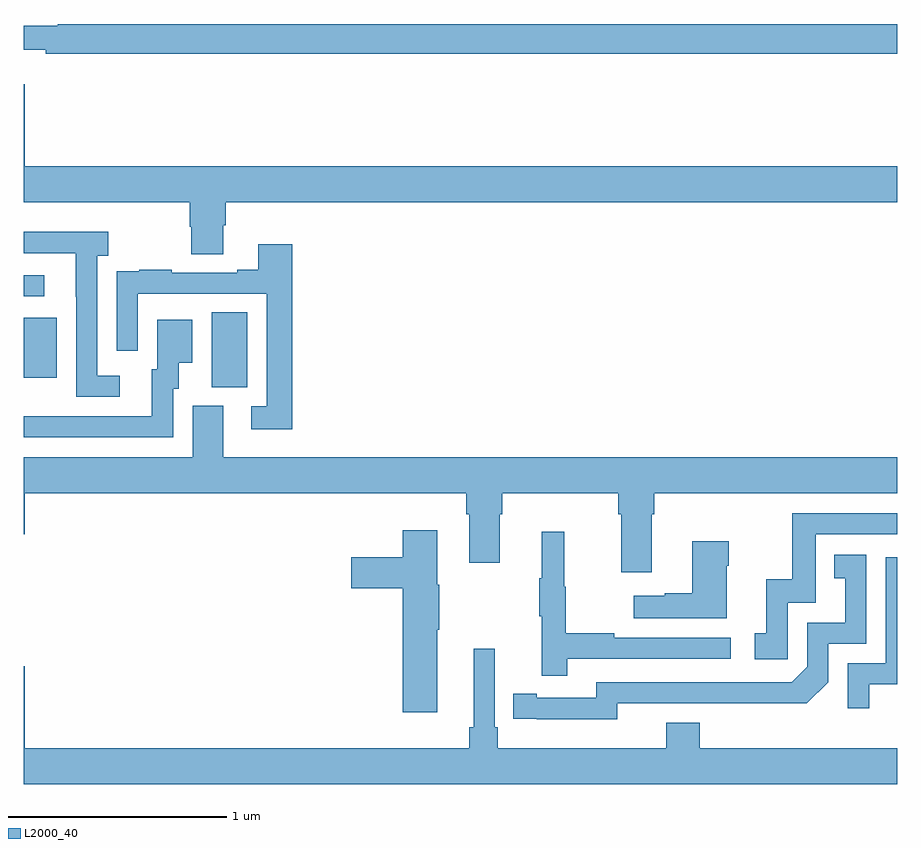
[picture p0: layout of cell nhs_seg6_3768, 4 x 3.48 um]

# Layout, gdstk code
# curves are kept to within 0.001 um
import gdstk
lib = gdstk.Library(unit=1e-6, precision=1e-09)
def R(c, l, rs):  # rectangles x0, y0, x1, y1
    for r in rs: c.add(gdstk.rectangle(r[:2], r[2:], *l))
def P(c, l, *ps):  # polygons
    for p in ps: c.add(gdstk.Polygon(p, *l))
L2000_40 = (2000, 40)

nhs_seg6_3768 = lib.new_cell('nhs_seg6_3768')
R(nhs_seg6_3768, L2000_40, [(333.86,955.813,334.024,956.156), (333,955.857,333.151,956.131), (333,956.229,333.094,956.325)])
P(nhs_seg6_3768, L2000_40, [(337,957.476),(333.155,957.476),(333.155,957.469),(333,957.469),(333,957.359),(333.1,957.359),(333.1,957.34),(337,957.34)],
  [(333.004,957.199),(333,957.199),(333,956.66),(333.761,956.66),(333.761,956.547),(333.766,956.547),(333.766,956.422),(333.913,956.422),(333.913,956.554),(333.926,956.554),(333.926,956.66),(337,956.66),(337,956.824),(333.004,956.824)],
  [(333.439,955.866),(333.336,955.866),(333.336,956.414),(333.388,956.414),(333.388,956.524),(333,956.524),(333,956.427),(333.239,956.427),(333.239,956.227),(333.24,956.227),(333.24,955.77),(333.439,955.77)],
  [(334.229,956.467),(334.073,956.467),(334.073,956.35),(333.977,956.35),(333.977,956.337),(333.677,956.337),(333.677,956.35),(333.529,956.35),(333.529,956.343),(333.427,956.343),(333.427,956.234),(333.426,956.234),(333.426,955.98),(333.522,955.98),(333.522,956.241),(334.113,956.241),(334.113,955.725),(334.041,955.725),(334.041,955.62),(334.229,955.62)],
  [(333.684,955.806),(333.709,955.806),(333.709,955.925),(333.772,955.925),(333.772,956.122),(333.611,956.122),(333.611,955.896),(333.587,955.896),(333.587,955.68),(333.103,955.68),(333.103,955.681),(333,955.681),(333,955.584),(333.684,955.584)],
  [(333,955.14),(333.004,955.14),(333.004,955.328),(335.027,955.328),(335.027,955.232),(335.039,955.232),(335.039,955.008),(335.179,955.008),(335.179,955.232),(335.192,955.232),(335.192,955.328),(335.723,955.328),(335.723,955.232),(335.735,955.232),(335.735,954.966),(335.875,954.966),(335.875,955.232),(335.888,955.232),(335.888,955.328),(337,955.328),(337,955.492),(333.913,955.492),(333.913,955.728),(333.773,955.728),(333.773,955.492),(333,955.492)],
  [(336.498,954.825),(336.627,954.825),(336.627,955.14),(337,955.14),(337,955.236),(336.519,955.236),(336.519,954.934),(336.401,954.934),(336.401,954.687),(336.348,954.687),(336.348,954.567),(336.498,954.567)],
  [(334.894,954.703),(334.902,954.703),(334.902,954.909),(334.894,954.909),(334.894,955.159),(334.736,955.159),(334.736,955.035),(334.5,955.035),(334.5,954.893),(334.736,954.893),(334.736,954.324),(334.894,954.324)],
  [(335.489,954.57),(336.238,954.57),(336.238,954.666),(335.705,954.666),(335.705,954.686),(335.482,954.686),(335.482,954.9),(335.474,954.9),(335.474,955.15),(335.372,955.15),(335.372,954.937),(335.361,954.937),(335.361,954.763),(335.372,954.763),(335.372,954.492),(335.489,954.492)],
  [(336.22,954.995),(336.228,954.995),(336.228,955.108),(336.062,955.108),(336.062,954.869),(335.936,954.869),(335.936,954.859),(335.793,954.859),(335.793,954.755),(336.22,954.755)],
  [(335.718,954.366),(336.586,954.365),(336.684,954.462),(336.684,954.639),(336.858,954.639),(336.858,955.045),(336.712,955.045),(336.712,954.939),(336.761,954.939),(336.761,954.735),(336.588,954.735),(336.588,954.534),(336.516,954.462),(335.622,954.462),(335.622,954.39),(335.35,954.39),(335.35,954.41),(335.242,954.41),(335.242,954.294),(335.718,954.293)],
  [(336.871,954.453),(337,954.453),(337,955.035),(336.948,955.035),(336.948,954.549),(336.774,954.549),(336.774,954.342),(336.871,954.342)],
  [(337,954.16),(336.095,954.16),(336.095,954.277),(335.942,954.277),(335.942,954.16),(335.171,954.16),(335.171,954.256),(335.157,954.256),(335.157,954.616),(335.06,954.616),(335.06,954.256),(335.041,954.256),(335.041,954.16),(333.004,954.16),(333.004,954.535),(333,954.535),(333,953.996),(337,953.996)])

lib.write_gds('nhs_seg6_3768.gds')
